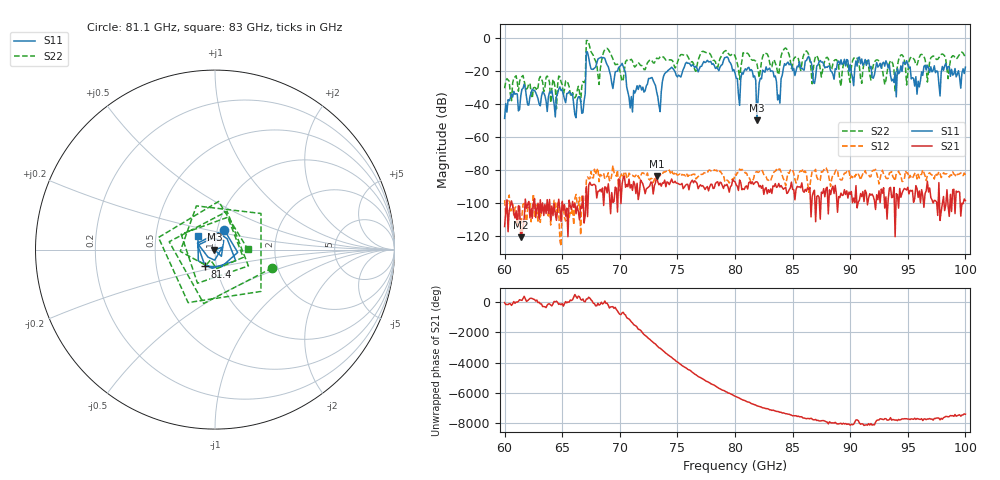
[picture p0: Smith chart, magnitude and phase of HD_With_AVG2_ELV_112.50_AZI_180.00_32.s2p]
! 11/25/2026 10:25:58 AM
! C:\ANRITSUVNA\TEMP\TEMP.S2P
! CHANNEL.1
! TR.MEASUREMENT
! RAW.DATA
# HZ S RI R 50.0
! FREQ.HZ  S11RE  S11IM  S21RE  S21IM  S12RE  S12IM  S22RE  S22IM
!; PortSelection: Port_12
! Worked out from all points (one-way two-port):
!   401 points, 60 GHz to 100 GHz, reference 50 ohm
!   highest |S21| = -83.44 dB at 73.2 GHz (marker M1); lowest = -120.5 dB at 61.4 GHz (marker M2)
!   lowest |S11| = -49.8 dB at 81.9 GHz (marker M3), VSWR 1.01, Z = 49.7 + j0.00529 ohm
!   |S11| at or under -10 dB: start of sweep to 67.09 GHz; 67.24 GHz to end of sweep
!   |S22| runs from -42.9 to -1.7 dB; largest |S21 - S12| = 0.00014
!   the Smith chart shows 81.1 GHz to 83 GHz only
!   S11 on the Smith chart (normalised r, x): 81.1 GHz: 1.08, +0.24; 81.4 GHz: 0.88, -0.17; 83 GHz: 0.82, +0.12
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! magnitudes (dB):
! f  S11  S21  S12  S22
! 60 GHz  -48.7  -114.0  -98.1  -30.5
! 61.4 GHz  -35.4  -120.5  -116.5  -24.5
! 66.7 GHz  -45.7  -103.0  -95.7  -29.5
! 67.3 GHz  -12.1  -89.1  -85.2  -3.1
! 68.1 GHz  -13.0  -92.7  -78.8  -22.5
! 68.9 GHz  -16.4  -93.7  -83.7  -6.5
! 70.3 GHz  -17.5  -84.4  -83.8  -25.5
! 70.9 GHz  -42.4  -90.8  -82.7  -13.5
! 72.7 GHz  -24.3  -87.1  -84.9  -13.3
! 73.2 GHz  -32.7  -83.4  -84.7  -12.3
! 73.4 GHz  -41.0  -88.8  -82.2  -12.6
! 74.4 GHz  -18.6  -86.9  -81.7  -13.4
! 80 GHz  -21.3  -87.0  -82.5  -11.0
! 81.1 GHz  -18.4  -91.4  -83.6  -9.5
! 81.4 GHz  -19.3  -88.2  -87.4  -13.0
! 81.9 GHz  -49.8  -87.0  -80.8  -15.7
! 83 GHz  -18.4  -93.4  -86.8  -14.8
! 83.8 GHz  -34.6  -88.0  -79.4  -22.4
! 84.4 GHz  -16.7  -90.4  -89.4  -6.3
! 86.7 GHz  -17.5  -95.8  -80.7  -27.9
! 93.4 GHz  -16.4  -91.0  -81.7  -15.6
! 100 GHz  -17.8  -98.3  -82.9  -12.1
